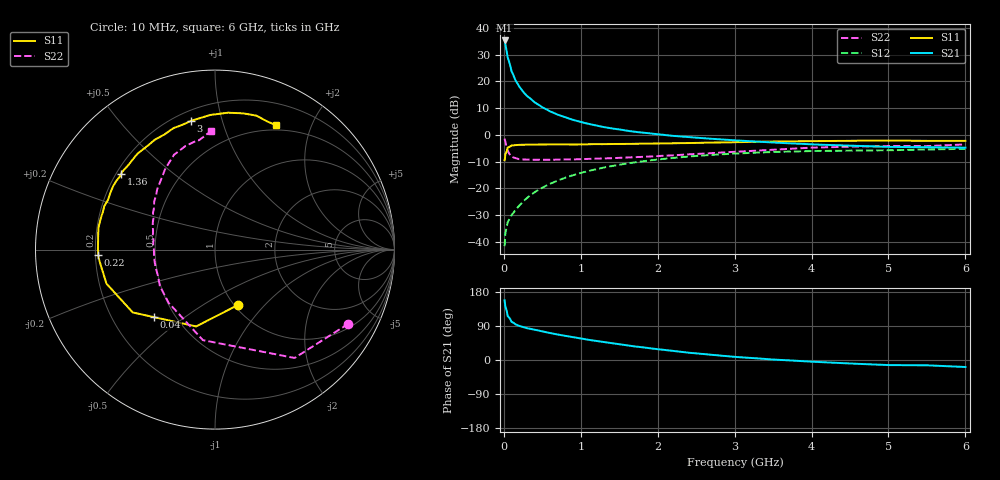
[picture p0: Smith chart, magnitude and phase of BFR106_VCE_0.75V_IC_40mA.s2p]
! Infineon Technologies  Discrete & RF Semiconductors
! BFR106
! VCE = 0.75 V,  IC =  40 mA
! Common Emitter S-Parameters:  Nov 2015
# GHz  S  MA  R  50
!  f  S11  S21  S12  S22
! GHz  MAG  ANG  MAG  ANG  MAG  ANG  MAG  ANG
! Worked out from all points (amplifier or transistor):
!   210 points, 10 MHz to 6 GHz, reference 50 ohm
!   highest |S21| = 35.4 dB at 10 MHz (marker M1)
!   |S21| within 3 dB of that: start of sweep to 30.23 MHz
!   unconditionally stable (mu >= 1): 219 MHz to end of sweep
!   at 185 MHz: K = 0.96, MSG = 22.9 dB, |S12| = -27.0 dB
!   at 1.52 GHz: K = 1.08, MAG = 4.8 dB, |S12| = -11.1 dB
!   at 6 GHz: K = 1.03, MAG = -0.8 dB, |S12| = -5.2 dB
!   S11 on the Smith chart (normalised r, x): 10 MHz: 1.04, -0.72; 40 MHz: 0.38, -0.39; 220 MHz: 0.21, -0.02; 1.36 GHz: 0.22, +0.34; 3 GHz: 0.26, +0.80; 6 GHz: 0.44, +1.52
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0.01  0.3341 -67.3  58.72 157.4  0.0082 74.0  0.8502 -29.1
0.02  0.4407 -103.8  49.47 140.7  0.0143 61.2  0.7491 -53.7
0.04  0.5074 -132.1  34.58 127.3  0.02 52.7  0.5474 -79.2
0.05  0.5767 -142.6  28.39 115.6  0.0229 50.0  0.509 -97.6
0.1  0.6337 -162.6  15.58 100.9  0.031 52.7  0.3932 -131.2
0.15  0.641 -171.4  10.56 94.2  0.0389 57.7  0.3678 -146.7
0.2  0.6504 -175.9  8.023 89.9  0.0471 61.3  0.3495 -155.6
0.22  0.6508 -177.4  7.374 88.7  0.0506 62.4  0.3474 -158.2
0.26  0.6522 179.8  6.198 86.1  0.0578 64.1  0.3452 -163.0
0.3  0.6524 177.8  5.367 84.0  0.0654 65.6  0.3443 -166.1
0.4  0.6563 172.8  4.072 79.5  0.0838 66.9  0.3422 -172.4
0.5  0.6609 169.3  3.281 75.3  0.1021 67.2  0.3402 -177.0
0.6  0.6604 165.1  2.76 71.1  0.1206 66.3  0.3404 179.9
0.7  0.659 161.5  2.392 67.1  0.1391 65.4  0.3439 177.1
1.02  0.6642 150.8  1.713 56.1  0.1966 60.7  0.3505 169.2
1.36  0.6721 141.0  1.35 45.6  0.2533 54.7  0.3634 162.0
2.02  0.6892 122.9  1.016 28.1  0.3475 42.5  0.402 149.1
3  0.7294 100.7  0.789 8.3  0.446 25.3  0.4804 130.1
3.1  0.7323 98.9  0.774 7.0  0.4516 23.7  0.4891 128.3
4.1  0.7672 83.3  0.655 -5.3  0.4986 9.0  0.5798 111.8
5.1  0.7786 71.8  0.593 -13.5  0.5176 -1.9  0.6171 98.8
6  0.772 63.8  0.575 -18.5  0.5474 -10.2  0.6616 91.8
